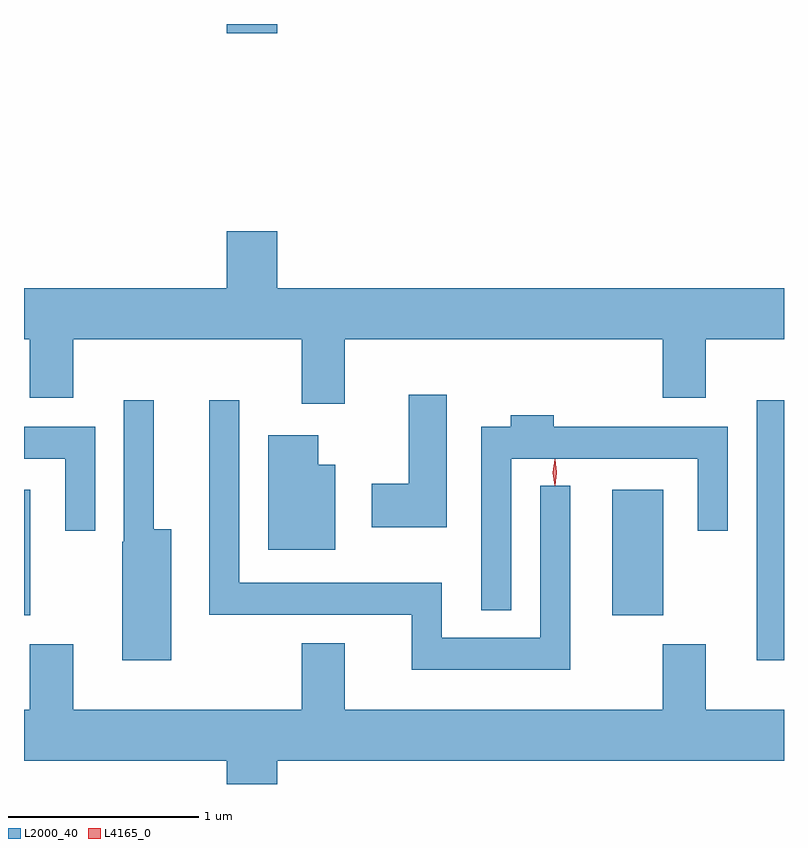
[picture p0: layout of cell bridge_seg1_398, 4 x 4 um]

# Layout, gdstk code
import gdstk
lib = gdstk.Library(unit=1e-6, precision=1e-09)
def R(c, l, rs):  # rectangles x0, y0, x1, y1
    for r in rs: c.add(gdstk.rectangle(r[:2], r[2:], *l))
def P(c, l, *ps):  # polygons
    for p in ps: c.add(gdstk.Polygon(p, *l))
L2000_40 = (2000, 40)
L4165_0 = (4165, 0)

bridge_seg1_398 = lib.new_cell('bridge_seg1_398')
R(bridge_seg1_398, L2000_40, [(577.506,942.286,577.65,943.653), (573.65,942.521,573.684,943.184), (576.746,942.521,577.014,943.184), (574.716,945.586,574.984,945.634)])
P(bridge_seg1_398, L2000_40, [(575.339,943.976),(577.011,943.976),(577.011,943.666),(577.239,943.666),(577.239,943.976),(577.65,943.976),(577.65,944.244),(574.984,944.244),(574.984,944.544),(574.716,944.544),(574.716,944.244),(573.65,944.244),(573.65,943.976),(573.681,943.976),(573.681,943.666),(573.909,943.666),(573.909,943.976),(575.111,943.976),(575.111,943.636),(575.339,943.636)],
  [(575.874,943.684),(575.676,943.684),(575.676,943.214),(575.481,943.214),(575.481,942.986),(575.874,942.986)],
  [(576.524,943.203),(576.366,943.203),(576.366,942.404),(575.849,942.404),(575.849,942.694),(574.784,942.694),(574.784,943.653),(574.626,943.653),(574.626,942.526),(575.691,942.526),(575.691,942.236),(576.524,942.236)],
  [(574.424,942.974),(574.334,942.974),(574.334,943.653),(574.176,943.653),(574.176,942.91),(574.166,942.91),(574.166,942.286),(574.424,942.286)],
  [(576.214,943.346),(577.196,943.346),(577.196,942.968),(577.354,942.968),(577.354,943.514),(576.439,943.514),(576.439,943.574),(576.211,943.574),(576.211,943.514),(576.056,943.514),(576.056,942.548),(576.214,942.548)],
  [(574.024,943.514),(573.65,943.514),(573.65,943.346),(573.866,943.346),(573.866,942.968),(574.024,942.968)],
  [(575.289,943.314),(575.199,943.314),(575.199,943.469),(574.936,943.469),(574.936,942.866),(575.289,942.866)],
  [(574.984,941.756),(577.65,941.756),(577.65,942.024),(577.239,942.024),(577.239,942.369),(577.011,942.369),(577.011,942.024),(575.339,942.024),(575.339,942.374),(575.111,942.374),(575.111,942.024),(573.909,942.024),(573.909,942.369),(573.681,942.369),(573.681,942.024),(573.65,942.024),(573.65,941.756),(574.716,941.756),(574.716,941.634),(574.984,941.634)])
P(bridge_seg1_398, L4165_0, [(576.444,943.204),(576.444,943.204),(576.434,943.273),(576.444,943.343),(576.444,943.343),(576.445,943.343),(576.454,943.273),(576.445,943.204)],
  [(576.445,943.207),(576.445,943.207),(576.435,943.274),(576.445,943.34),(576.445,943.341),(576.446,943.34),(576.455,943.274),(576.446,943.207)])

lib.write_gds('bridge_seg1_398.gds')
